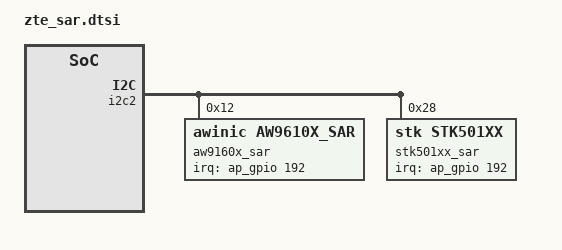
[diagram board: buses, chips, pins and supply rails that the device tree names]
&i2c2 {
	status = "okay";
	aw9160x_sar@12 {
		compatible = "awinic,aw9610x_sar";
		reg = <0x12>;

		irq-gpio = <&ap_gpio 192 0>;
		chip_name = "AW96103";
		status = "okay" ;
	};

	stk501xx_sar@28 {
		compatible = "stk,stk501xx";
		reg = <0x28>;

		stk501xx,irq-gpio = <&ap_gpio 192 0>;
		chip_name = "STK50153";
		status = "okay" ;
	};
};
